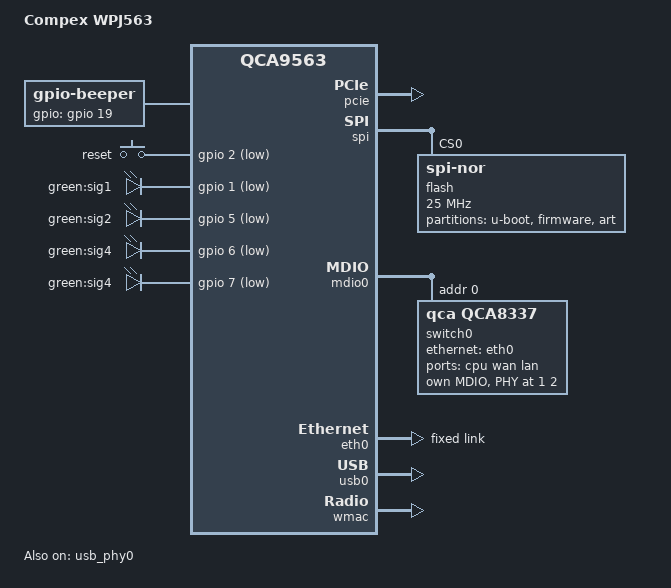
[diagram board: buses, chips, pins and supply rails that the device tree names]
// SPDX-License-Identifier: GPL-2.0-or-later OR MIT

#include "qca956x.dtsi"

#include <dt-bindings/gpio/gpio.h>
#include <dt-bindings/input/input.h>

/ {
	model = "Compex WPJ563";
	compatible = "compex,wpj563", "qca,qca9563";

	aliases {
		label-mac-device = &eth0;
		led-boot = &led_sig4;
		led-failsafe = &led_sig4;
		led-running = &led_sig4;
		led-upgrade = &led_sig4;
	};

	beeper {
		compatible = "gpio-beeper";
		gpios = <&gpio 19 GPIO_ACTIVE_HIGH>;
	};

	keys {
		compatible = "gpio-keys";

		reset {
			label = "reset";
			linux,code = <KEY_RESTART>;
			gpios = <&gpio 2 GPIO_ACTIVE_LOW>;
			debounce-interval = <60>;
		};
	};

	leds {
		compatible = "gpio-leds";

		sig1 {
			label = "green:sig1";
			gpios = <&gpio 1 GPIO_ACTIVE_LOW>;
		};

		sig2 {
			label = "green:sig2";
			gpios = <&gpio 5 GPIO_ACTIVE_LOW>;
		};

		sig3 {
			label = "green:sig4";
			gpios = <&gpio 6 GPIO_ACTIVE_LOW>;
		};

		led_sig4: sig4 {
			label = "green:sig4";
			gpios = <&gpio 7 GPIO_ACTIVE_LOW>;
		};
	};
};

&pcie {
	status = "okay";
};

&spi {
	status = "okay";

	flash@0 {
		compatible = "jedec,spi-nor";
		reg = <0>;
		spi-max-frequency = <25000000>;

		partitions {
			compatible = "fixed-partitions";
			#address-cells = <1>;
			#size-cells = <1>;

			uboot: partition@0 {
				label = "u-boot";
				reg = <0x000000 0x030000>;
				read-only;
			};

			partition@30000 {
				compatible = "denx,uimage";
				label = "firmware";
				reg = <0x030000 0xfc0000>;
			};

			art: partition@ff0000 {
				label = "art";
				reg = <0xff0000 0x010000>;
				read-only;
			};
		};
	};
};

&mdio0 {
	status = "okay";

	phy-mask = <0>;

	switch0@10 {
		compatible = "qca,qca8337";
		#address-cells = <1>;
		#size-cells = <0>;

		reg = <0>;

		ports {
			#address-cells = <1>;
			#size-cells = <0>;

			port@0 {
				reg = <0>;
				label = "cpu";
				ethernet = <&eth0>;
				phy-mode = "sgmii";
				qca,sgmii-rxclk-falling-edge;

				fixed-link {
					speed = <1000>;
					full-duplex;
				};
			};

			port@2 {
				reg = <2>;
				label = "wan";
				phy-mode = "internal";
				phy-handle = <&phy_port2>;
			};

			port@3 {
				reg = <3>;
				label = "lan";
				phy-mode = "internal";
				phy-handle = <&phy_port3>;
			};
		};

		mdio {
			#address-cells = <1>;
			#size-cells = <0>;

			phy_port2: phy@1 {
				reg = <1>;
			};

			phy_port3: phy@2 {
				reg = <2>;
			};
		};
	};
};

&eth0 {
	status = "okay";

	pll-data = <0x03000101 0x00000101 0x00001919>;

	nvmem-cells = <&macaddr_uboot_2e010>;
	nvmem-cell-names = "mac-address";

	fixed-link {
		speed = <1000>;
		full-duplex;
	};
};

&usb_phy0 {
	status = "okay";
};

&usb0 {
	status = "okay";
};

&wmac {
	status = "okay";

	mtd-cal-data = <&art 0x1000>;
};

&uboot {
	compatible = "nvmem-cells";
	#address-cells = <1>;
	#size-cells = <1>;

	macaddr_uboot_2e010: macaddr@2e010 {
		reg = <0x2e010 0x6>;
	};
};
